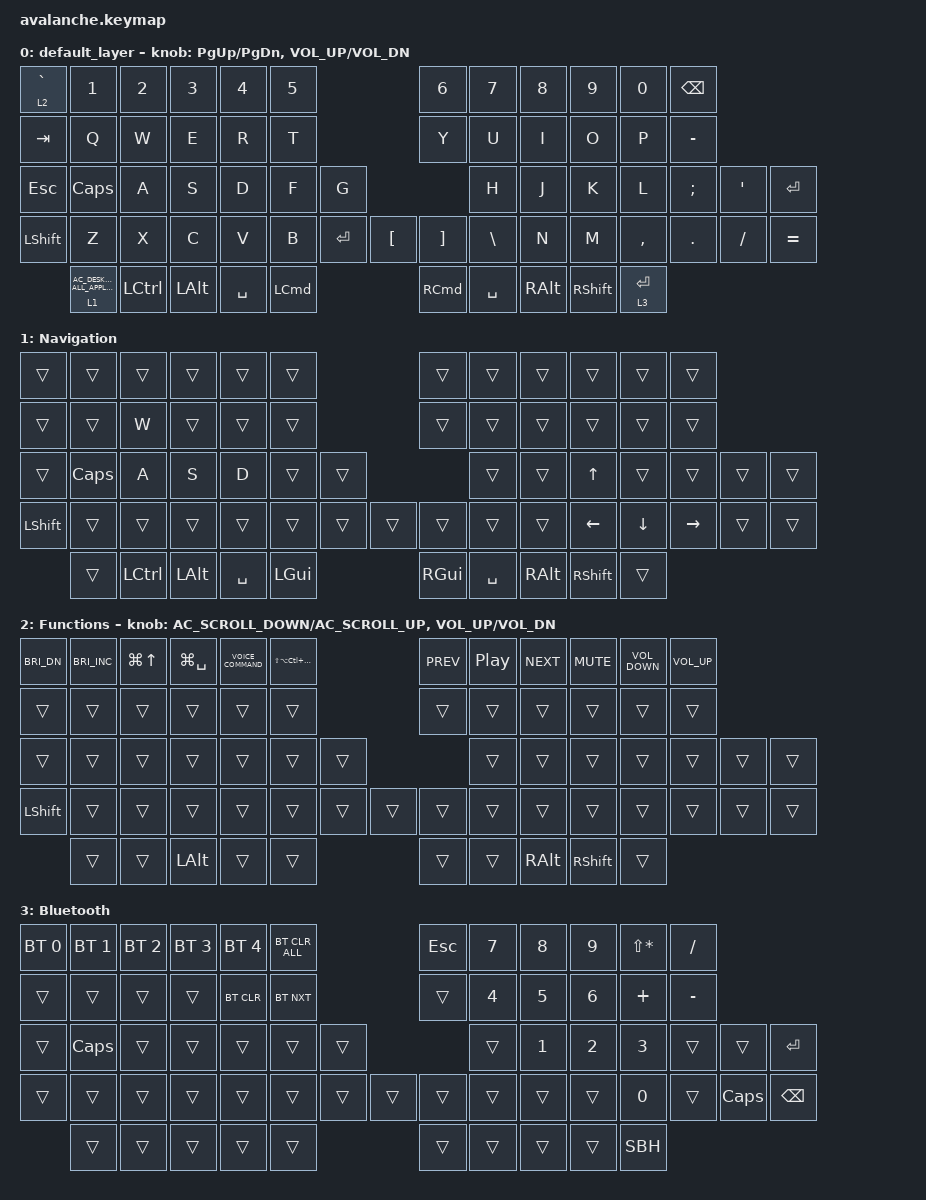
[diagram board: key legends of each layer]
#include <behaviors.dtsi>
#include <dt-bindings/zmk/bt.h>
#include <dt-bindings/zmk/keys.h>

/ {
    behaviors {
        bhm: balanced_homerow_mods {
            compatible = "zmk,behavior-hold-tap";
            label = "HOMEROW_MODS";
            #binding-cells = <2>;
            tapping-term-ms = <200>;

            // <---[[moderate duration]]

            quick-tap-ms = <0>;
            flavor = "balanced";
            bindings = <&kp>, <&kp>;
        };

        hm: homerow_mods {
            compatible = "zmk,behavior-hold-tap";
            label = "HOMEROW_MODS";
            #binding-cells = <2>;
            tapping-term-ms = <250>;
            flavor = "tap-preferred";
            bindings = <&kp>, <&kp>;
        };
    };

    macros {
        bore: BORE {
            compatible = "zmk,behavior-macro";
            #binding-cells = <0>;
            bindings = <&none &kp LT &kp M &kp O &kp D &kp MINUS &kp D &kp I &kp A &kp M &kp GT &kp B &kp O &kp R &kp E>;
            label = "BORE";
        };

        BORE: new_macro {
            compatible = "zmk,behavior-macro";
            #binding-cells = <0>;
            bindings = <&none &kp LT &kp LS(M) &kp LS(O) &kp LS(D) &kp MINUS &kp LS(D) &kp LS(I) &kp LS(A) &kp LS(M) &kp GT &kp LS(B) &kp LS(O) &kp LS(R) &kp LS(E) &kp RET &kp RET>;
            label = "NEW_MACRO";
        };

        rev00: rev00 {
            compatible = "zmk,behavior-macro";
            #binding-cells = <0>;
            bindings = <&kp CLCK &kp LS(I) &kp LS(N) &kp LS(I) &kp LS(T) &kp LS(I) &kp LS(A) &kp LS(L) &kp SPACE &kp LS(R) &kp LS(E) &kp LS(L) &kp LS(E) &kp LS(A) &kp LS(S) &kp LS(E) &kp SPACE &kp LS(I) &kp LS(N) &kp SPACE &kp LS(A) &kp LS(C) &kp LS(C) &kp LS(O) &kp LS(R) &kp LS(D) &kp LS(A) &kp LS(N) &kp LS(C) &kp LS(E) &kp SPACE &kp LS(W) &kp LS(I) &kp LS(T) &kp LS(H) &kp SPACE &kp LS(N) &kp LS(E) &kp LS(W) &kp RET &kp LS(D) &kp LS(R) &kp LS(A) &kp LS(W) &kp LS(I) &kp LS(N) &kp LS(G) &kp SPACE &kp LS(S) &kp LS(T) &kp LS(A) &kp LS(N) &kp LS(D) &kp LS(A) &kp LS(R) &kp LS(D) &kp CAPS>;
            label = "REV00";
        };

        SBH: SBH {
            compatible = "zmk,behavior-macro";
            #binding-cells = <0>;
            bindings = <&kp S &kp B &kp H>;
            label = "SBH";
        };
    };

    keymap {
        compatible = "zmk,keymap";

        /*
        &trans  &trans  &trans  &trans  &trans  &trans                                   &trans  &trans  &trans  &trans  &trans  &trans 
// ------------------------------------------------------------------------------------------------------------------------------------------------------------------------------------
        &trans  &trans  &trans  &trans  &trans  &trans                                   &trans  &trans  &trans  &trans  &trans  &trans 
// ------------------------------------------------------------------------------------------------------------------------------------------------------------------------------------
&trans  &trans  &trans  &trans  &trans  &trans  &trans                                   &trans  &trans  &trans  &trans  &trans  &trans  &trans 
// ------------------------------------------------------------------------------------------------------------------------------------------------------------------------------------
        &trans  &trans  &trans  &trans  &trans  &trans  &trans  &trans    &trans &trans  &trans  &trans  &trans  &trans  &trans  &trans 
// ------------------------------------------------------------------------------------------------------------------------------------------------------------------------------------
                                &trans  &trans  &trans  &trans  &trans    &trans &trans  &trans  &trans  &trans
*/

        default_layer {
            bindings = <
&lt 2 GRAVE     &kp N1                                    &kp N2     &kp N3        &kp N4     &kp N5                                         &kp N6             &kp N7         &kp N8         &kp N9           &kp N0       &kp BACKSPACE
&kp TAB         &kp Q                                     &kp W      &kp E         &kp R      &kp T                                          &kp Y              &kp U          &kp I          &kp O            &kp P        &kp MINUS
&kp ESCAPE      &kp CAPSLOCK                              &kp A      &kp S         &kp D      &kp F             &kp G                                           &kp H          &kp J          &kp K            &kp L        &kp SEMICOLON  &kp SQT    &kp ENTER
&kp LEFT_SHIFT  &kp Z                                     &kp X      &kp C         &kp V      &kp B             &kp ENTER  &kp LEFT_BRACKET  &kp RIGHT_BRACKET  &kp BACKSLASH  &kp N          &kp M            &kp COMMA    &kp PERIOD     &kp SLASH  &kp EQUAL
                &lt 1 C_AC_DESKTOP_SHOW_ALL_APPLICATIONS  &kp LCTRL  &kp LEFT_ALT  &kp SPACE  &kp LEFT_COMMAND                               &kp RIGHT_COMMAND  &kp SPACE      &kp RIGHT_ALT  &kp RIGHT_SHIFT  &lt 3 ENTER
            >;

            sensor-bindings =
                <&inc_dec_kp PAGE_UP PAGE_DOWN>,
                <&inc_dec_kp C_VOL_UP C_VOL_DN>;
        };

        Navigation {
            bindings = <
&trans          &trans        &trans            &trans        &trans     &trans                        &trans         &trans     &trans         &trans           &trans    &trans
&trans          &trans        &kp W             &trans        &trans     &trans                        &trans         &trans     &trans         &trans           &trans    &trans
&trans          &kp CAPSLOCK  &kp A             &kp S         &kp D      &trans        &trans                         &trans     &trans         &kp UP_ARROW     &trans    &trans     &trans  &trans
&kp LEFT_SHIFT  &trans        &trans            &trans        &trans     &trans        &trans  &trans  &trans         &trans     &trans         &kp LEFT         &kp DOWN  &kp RIGHT  &trans  &trans
                &trans        &kp LEFT_CONTROL  &kp LEFT_ALT  &kp SPACE  &kp LEFT_GUI                  &kp RIGHT_GUI  &kp SPACE  &kp RIGHT_ALT  &kp RIGHT_SHIFT  &trans
            >;
        };

        Functions {
            bindings = <
&kp C_BRI_DN    &kp C_BRIGHTNESS_INC  &kp LG(UP_ARROW)  &kp LG(SPACE)  &kp C_VOICE_COMMAND  &kp LS(LA(LC(LG(F6))))                  &kp C_PREV  &kp C_PP  &kp C_NEXT     &kp C_MUTE       &kp C_VOLUME_DOWN  &kp C_VOLUME_UP
&trans          &trans                &trans            &trans         &trans               &trans                                  &trans      &trans    &trans         &trans           &trans             &trans
&trans          &trans                &trans            &trans         &trans               &trans                  &trans                      &trans    &trans         &trans           &trans             &trans           &trans  &trans
&kp LEFT_SHIFT  &trans                &trans            &trans         &trans               &trans                  &trans  &trans  &trans      &trans    &trans         &trans           &trans             &trans           &trans  &trans
                &trans                &trans            &kp LEFT_ALT   &trans               &trans                                  &trans      &trans    &kp RIGHT_ALT  &kp RIGHT_SHIFT  &trans
            >;

            sensor-bindings =
                <&inc_dec_kp C_AC_SCROLL_DOWN C_AC_SCROLL_UP>,
                <&inc_dec_kp C_VOL_UP C_VOL_DN>;
        };

        Bluetooth {
            bindings = <
&bt BT_SEL 0  &bt BT_SEL 1  &bt BT_SEL 2  &bt BT_SEL 3  &bt BT_SEL 4  &bt BT_CLR_ALL                  &kp ESC  &kp N7  &kp N8  &kp N9  &kp LS(STAR)  &kp FSLH
&trans        &trans        &trans        &trans        &bt BT_CLR    &bt BT_NXT                      &trans   &kp N4  &kp N5  &kp N6  &kp PLUS      &kp MINUS
&trans        &kp CAPS      &trans        &trans        &trans        &trans          &trans                   &trans  &kp N1  &kp N2  &kp N3        &trans     &trans        &kp RET
&trans        &trans        &trans        &trans        &trans        &trans          &trans  &trans  &trans   &trans  &trans  &trans  &kp N0        &trans     &kp CAPSLOCK  &kp BSPC
              &trans        &trans        &trans        &trans        &trans                          &trans   &trans  &trans  &trans  &SBH
            >;
        };
    };
};
